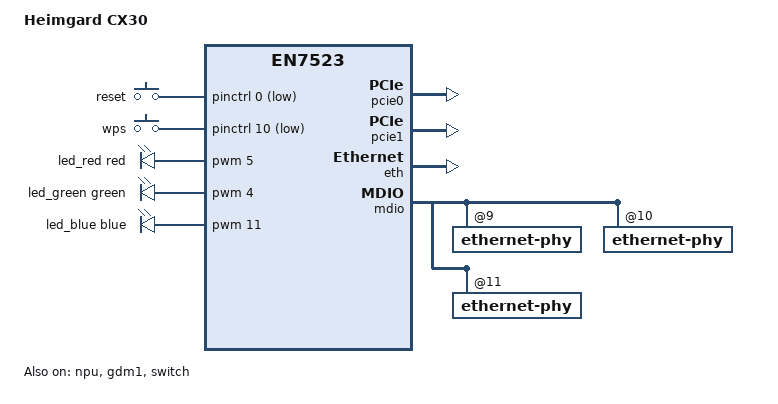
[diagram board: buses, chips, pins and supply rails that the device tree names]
/* SPDX-License-Identifier: GPL-2.0-or-later OR MIT */
/dts-v1/;

#include <dt-bindings/leds/common.h>
#include <dt-bindings/gpio/gpio.h>
#include <dt-bindings/input/input.h>
#include "en7523.dtsi"

/ {
	model = "Heimgard CX30";
	compatible = "heimgard,cx30", "airoha,en7523";

	chosen {
		bootargs = "console=ttyS0,115200 earlycon";
		stdout-path = "serial0:115200n8";
	};

	aliases {
		serial0 = &uart1;
		led-boot = &led_red;
		led-failsafe = &led_red;
		led-upgrade = &led_blue;
		led-running = &led_green;
	};

	keys {
		compatible = "gpio-keys-polled";
		poll-interval = <100>;

		reset {
			label = "reset";
			linux,code = <KEY_RESTART>;
			gpios = <&pinctrl 0 GPIO_ACTIVE_LOW>;
			debounce-interval = <60>;
		};

		wps {
			label = "wps";
			linux,code = <KEY_WPS_BUTTON>;
			gpios = <&pinctrl 10 GPIO_ACTIVE_LOW>;
			debounce-interval = <60>;
		};
	};

	leds {
		compatible = "pwm-leds";

		led_red: led@0 {
			function = LED_FUNCTION_STATUS;
			color = <LED_COLOR_ID_RED>;
			pwms = <&pwm 5 4000000 GPIO_ACTIVE_LOW>;
			max-brightness = <255>;
			default-state = "on";
			boot-default-state = "on";
			uboot,default-brightness = <0x7f>;
			active-low;
		};

		led_green: led@1 {
			function = LED_FUNCTION_STATUS;
			color = <LED_COLOR_ID_GREEN>;
			pwms = <&pwm 4 4000000 GPIO_ACTIVE_LOW>;
			max-brightness = <255>;
			default-state = "off";
			uboot,default-brightness = <0x00>;
			active-low;
		};

		led_blue: led@2 {
			function = LED_FUNCTION_STATUS;
			color = <LED_COLOR_ID_BLUE>;
			pwms = <&pwm 11 4000000 GPIO_ACTIVE_LOW>;
			max-brightness = <255>;
			default-state = "off";
			uboot,default-brightness = <0x00>;
			active-low;
		};
	};
};

&pinctrl {
	gpio-ranges = <&pinctrl 0 0 32>;
};

&nand {
	partitions {
		compatible = "fixed-partitions";
		#address-cells = <1>;
		#size-cells = <1>;

    partition@0 {
      reg = <0x00000000 0x00100000>;
      read-only;
      label = "u-boot";
    };

    partition@80000 {
      reg = <0x00100000 0x10000000>;
      label = "ubi";
			compatible = "linux,ubi";

			volumes {
				ubi-volume-ubootenv {
					volname = "env";
					nvmem-layout {
						compatible = "u-boot,env-redundant-bool";
					};
				};

				ubi-volume-ubootenv2 {
					volname = "env2";
					nvmem-layout {
						compatible = "u-boot,env-redundant-bool";
					};
				};

				ubi-volume-rootfs2 {
					volname = "rootfs2";
				};

				ubi-volume-overlay2 {
					volname = "overlay2";
				};
			};
    };
	};
};

&pcie0 {
	status = "okay";
};

&pcie1 {
	status = "okay";

	pcie@1,0 {
		reg = <0x00000800 0 0 0 0>;
		#address-cells = <3>;
		#size-cells = <2>;

		mt7916@0,0 {
			reg = <0x0000 0 0 0 0>;
			#address-cells = <1>;
			#size-cells = <0>;
			// nvmem-cells = <&eeprom0>;
			// nvmem-cell-names = "eeprom";
			airoha,npu = <&npu>;
			airoha,eth = <&eth>;

			/* 2.4 GHz */
			band@0 {
				reg = <0>;
				// nvmem-cells = <&macaddr 0>;
				// nvmem-cell-names = "mac-address";
			};

			/* 5 GHz */
			band@1 {
				reg = <1>;
				// nvmem-cells = <&macaddr 2>;
				// nvmem-cell-names = "mac-address";
			};
		};
	};
};

&npu {
	status = "okay";
};

&eth {
	status = "okay";
};

&gdm1 {
	status = "okay";

	// nvmem-cells = <&macaddr 0>;
	// nvmem-cell-names = "mac-address";
};

&switch {
	status = "okay";
	ports {
		port@1 {
			label = "lan1";
			status = "okay";
		};

		port@2 {
			label = "lan2";
			status = "okay";
		};

		port@3 {
			label = "wan";
			status = "okay";
		};

		port@6 {
			// nvmem-cells = <&macaddr 0>;
			// nvmem-cell-names = "mac-address";
		};
	};

	mdio {
		ethernet-phy@9 {
			status = "okay";
		};

		ethernet-phy@10 {
			status = "okay";
		};

		ethernet-phy@11 {
			status = "okay";
		};
	};
};
